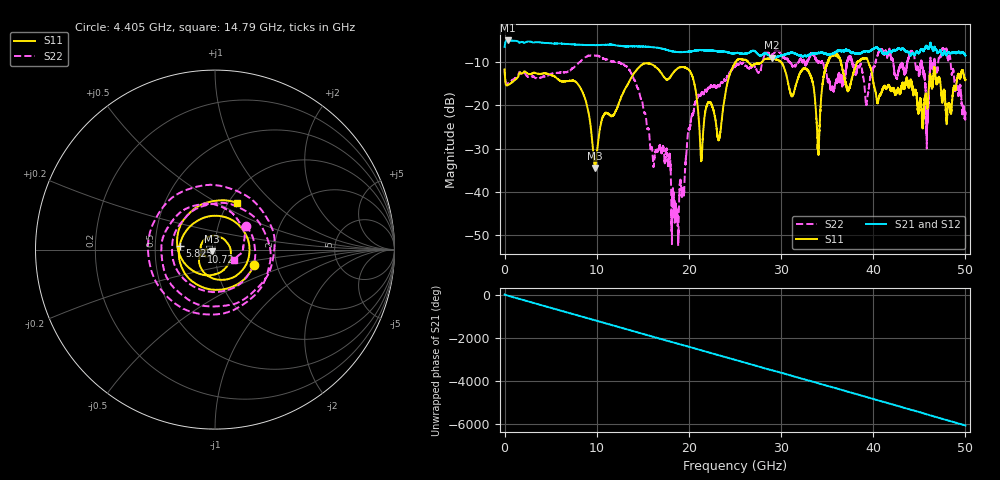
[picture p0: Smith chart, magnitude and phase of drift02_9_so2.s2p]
!Created with skrf (http://scikit-rf.org).
# Hz S RI R 50.0
!freq ReS11 ImS11 ReS21 ImS21 ReS12 ImS12 ReS22 ImS22
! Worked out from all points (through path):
!   10001 points, 300 kHz to 50 GHz, reference 50 ohm
!   highest |S21| = -5.04 dB at 325.3 MHz (marker M1); lowest = -9.0 dB at 29.05 GHz (marker M2)
!   group delay of S21, straight-line fit = 336 ps
!   lowest |S11| = -34.4 dB at 9.805 GHz (marker M3), VSWR 1.04, Z = 48.3 - j0.836 ohm
!   |S11| at or under -10 dB: start of sweep to 25.08 GHz; 29.98 GHz to 35.06 GHz (5.082 GHz wide, 15.6 % of centre); 39.47 GHz to end of sweep (the widest 3 of 8)
!   |S22| runs from -52.5 to -6.8 dB; largest |S21 - S12| = 0.02
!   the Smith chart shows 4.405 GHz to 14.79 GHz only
!   S11 on the Smith chart (normalised r, x): 4.405 GHz: 1.53, -0.28; 5.825 GHz: 0.67, +0.03; 10.72 GHz: 0.86, -0.02; 14.79 GHz: 1.10, +0.62
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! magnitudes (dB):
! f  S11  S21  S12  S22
! 300 kHz  -11.7  -6.5  -6.4  -11.6
! 325.3 MHz  -15.4  -5.0  -5.0  -15.0
! 4.405 GHz  -12.6  -5.6  -5.6  -13.3
! 5.825 GHz  -14.0  -5.7  -5.7  -12.5
! 8.335 GHz  -16.4  -6.0  -6.0  -9.7
! 9.805 GHz  -34.4  -6.1  -6.1  -8.5
! 10.72 GHz  -22.4  -6.1  -6.1  -9.2
! 14.79 GHz  -10.8  -6.4  -6.4  -18.5
! 16.67 GHz  -11.7  -6.7  -6.7  -30.3
! 18.67 GHz  -11.7  -7.7  -7.7  -44.2
! 20.37 GHz  -13.3  -7.5  -7.5  -22.3
! 21.37 GHz  -32.4  -7.2  -7.3  -17.1
! 23.3 GHz  -27.6  -7.5  -7.6  -15.5
! 25 GHz  -10.3  -8.0  -8.0  -11.0
! 29.05 GHz  -9.1  -9.0  -9.0  -8.3
! 33.34 GHz  -14.0  -8.1  -8.2  -8.1
! 34.02 GHz  -31.1  -7.9  -8.0  -10.1
! 35.52 GHz  -8.5  -8.2  -8.2  -15.8
! 41.67 GHz  -15.4  -7.7  -7.8  -7.5
! 45.85 GHz  -20.4  -6.7  -6.8  -21.5
! 47.77 GHz  -17.7  -7.6  -7.6  -7.2
! 50 GHz  -14.1  -8.5  -8.5  -22.2
